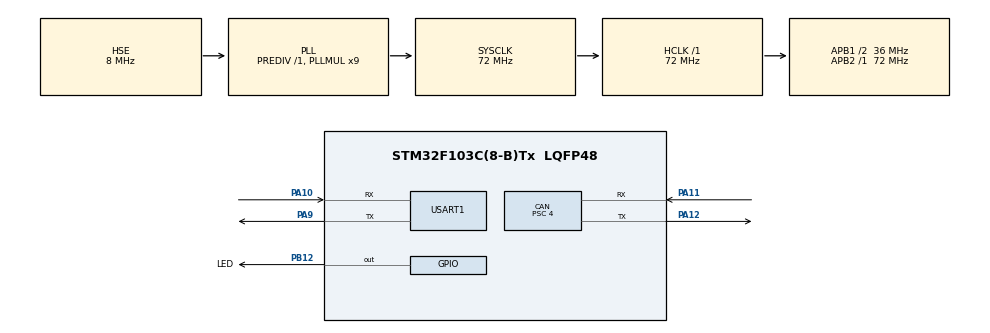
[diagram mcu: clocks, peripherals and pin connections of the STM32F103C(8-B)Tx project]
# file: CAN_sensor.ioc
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CAN.BS1=CAN_BS1_14TQ
CAN.BS2=CAN_BS2_3TQ
CAN.CalculateBaudRate=500000
CAN.CalculateTimeBit=2000
CAN.CalculateTimeQuantum=111.11111111111111
CAN.Mode=CAN_MODE_NORMAL
CAN.NART=ENABLE
CAN.Prescaler=4
CAN.SJW=CAN_SJW_2TQ
Mcu.Family=STM32F1
Mcu.Name=STM32F103C(8-B)Tx
Mcu.Package=LQFP48
NVIC.CAN1_RX1_IRQn=true\:0\:0\:false\:false\:true\:true\:true\:true
NVIC.PriorityGroup=NVIC_PRIORITYGROUP_4
PA10.Mode=Asynchronous
PA10.Signal=USART1_RX
PA11.Mode=CAN_Activate
PA11.Signal=CAN_RX
PA12.Mode=CAN_Activate
PA12.Signal=CAN_TX
PA13.Mode=Serial_Wire
PA13.Signal=SYS_JTMS-SWDIO
PA14.Mode=Serial_Wire
PA14.Signal=SYS_JTCK-SWCLK
PA9.Mode=Asynchronous
PA9.Signal=USART1_TX
PB12.GPIO_Label=LED
PB12.GPIO_Speed=GPIO_SPEED_FREQ_HIGH
PB12.PinState=GPIO_PIN_RESET
PB12.Signal=GPIO_Output
PD0-OSC_IN.Mode=HSE-External-Oscillator
PD0-OSC_IN.Signal=RCC_OSC_IN
PD1-OSC_OUT.Mode=HSE-External-Oscillator
PD1-OSC_OUT.Signal=RCC_OSC_OUT
ProjectManager.HeapSize=0x200
ProjectManager.StackSize=0x400
ProjectManager.TargetToolchain=STM32CubeIDE
RCC.AHBFreq_Value=72000000
RCC.APB1CLKDivider=RCC_HCLK_DIV2
RCC.APB1Freq_Value=36000000
RCC.APB1TimFreq_Value=72000000
RCC.APB2Freq_Value=72000000
RCC.APB2TimFreq_Value=72000000
RCC.HCLKFreq_Value=72000000
RCC.PLLMUL=RCC_PLL_MUL9
RCC.PLLSourceVirtual=RCC_PLLSOURCE_HSE
RCC.SYSCLKFreq_VALUE=72000000
RCC.SYSCLKSource=RCC_SYSCLKSOURCE_PLLCLK
RCC.USBFreq_Value=72000000
USART1.VirtualMode=VM_ASYNC
board=custom

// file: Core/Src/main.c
/* USER CODE BEGIN Header */
/**
  ******************************************************************************
  * @file           : main.c
  * @brief          : Main program body
  ******************************************************************************
  * @attention
  *
  * <h2><center>&copy; Copyright (c) 2021 STMicroelectronics.
  * All rights reserved.</center></h2>
  *
  * This software component is licensed by ST under BSD 3-Clause license,
  * the "License"; You may not use this file except in compliance with the
  * License. You may obtain a copy of the License at:
  *                        opensource.org/licenses/BSD-3-Clause
  *
  ******************************************************************************
  */
/* USER CODE END Header */
#include "main.h"

/* USER CODE BEGIN Includes */
#include "stdint.h"
#include "string.h"
#include "stdio.h"
/* USER CODE END Includes */

CAN_HandleTypeDef hcan;

UART_HandleTypeDef huart1;

/* USER CODE BEGIN PV */
CAN_TxHeaderTypeDef TxHeader;
CAN_RxHeaderTypeDef RxHeader;

uint32_t TxMailbox;

uint8_t TxData[8] = "Hi CE437";
uint8_t RxData[8];

uint8_t Tx_Buffer[55];
uint8_t flag_RcvBack = 0;

/* USER CODE END PV */

void SystemClock_Config(void);
static void MX_GPIO_Init(void);
static void MX_CAN_Init(void);
static void MX_USART1_UART_Init(void);

/* USER CODE BEGIN 0 */

void HAL_CAN_RxFifo1MsgPendingCallback(CAN_HandleTypeDef *hcan)
{
	if(HAL_CAN_GetRxMessage(hcan, CAN_RX_FIFO1, &RxHeader, RxData) != HAL_OK)
	{
		Error_Handler();
	}
	else
	{
		flag_RcvBack = 1;
	}
}
/* USER CODE END 0 */

int main(void)
{

  /* MCU Configuration--------------------------------------------------------*/

  /* Reset of all peripherals, Initializes the Flash interface and the Systick. */
  HAL_Init();

  /* Configure the system clock */
  SystemClock_Config();

  /* Initialize all configured peripherals */
  MX_GPIO_Init();
  MX_CAN_Init();
  MX_USART1_UART_Init();
  /* USER CODE BEGIN 2 */
  HAL_CAN_Init(&hcan);

  //Send notify signal to recieve message from actuator node
  HAL_CAN_ActivateNotification(&hcan, CAN_IT_RX_FIFO1_MSG_PENDING);

  CAN_FilterTypeDef canfilterconfig;

  canfilterconfig.FilterActivation = CAN_FILTER_ENABLE;
  canfilterconfig.FilterBank = 1;  // anything between 0 to SlaveStartFilterBank
  canfilterconfig.FilterFIFOAssignment = CAN_RX_FIFO1;
  canfilterconfig.FilterIdHigh = 0x2AA << 5;
  canfilterconfig.FilterIdLow = 0x0000;
  canfilterconfig.FilterMaskIdHigh = 0x2AA << 5;
  canfilterconfig.FilterMaskIdLow = 0x0000;
  canfilterconfig.FilterMode = CAN_FILTERMODE_IDMASK;
  canfilterconfig.FilterScale = CAN_FILTERSCALE_32BIT;
  //canfilterconfig.SlaveStartFilterBank = 14;

  HAL_CAN_ConfigFilter(&hcan, &canfilterconfig);

  HAL_CAN_Start(&hcan);

  //Config CAN Tx header
  TxHeader.DLC = 8;
  TxHeader.ExtId = 0;
  TxHeader.IDE = CAN_ID_STD;
  TxHeader.RTR = CAN_RTR_DATA;
  TxHeader.StdId = 0x555;
  TxHeader.TransmitGlobalTime = DISABLE;

  /* USER CODE END 2 */

  /* Infinite loop */
  /* USER CODE BEGIN WHILE */
  while (1)
  {

	  HAL_Delay(1000);

	  if(flag_RcvBack == 1) //recieve case
	  {
		  	//print oled debugger
		  	memset(Tx_Buffer,0,sizeof(Tx_Buffer)); //clear buffer before write
		  	sprintf((char*)Tx_Buffer,"\nSENSOR NODE\nTxID:%lu\nTx:%s\nRxID:%lu\nRx:%s",TxHeader.StdId,TxData,RxHeader.StdId,RxData);
		  	HAL_UART_Transmit(&huart1,Tx_Buffer,sizeof(Tx_Buffer), 10);

		  	//turn on led
		  	HAL_GPIO_WritePin(GPIOB, GPIO_PIN_12, flag_RcvBack);

		  	flag_RcvBack = 0; //reset flag

	  } else if(flag_RcvBack == 0) //transmit case
	  {
		  if (HAL_CAN_AddTxMessage(&hcan, &TxHeader, TxData, &TxMailbox) != HAL_OK)
		  {
			  Error_Handler();
		  } else //Transmit oke
		  {
			  //truyen duoc thi den tat
			  //turn off led
			  HAL_GPIO_WritePin(GPIOB, GPIO_PIN_12, flag_RcvBack);
		  }
	  }

    /* USER CODE END WHILE */

  }
}

void SystemClock_Config(void)
{
  RCC_OscInitTypeDef RCC_OscInitStruct = {0};
  RCC_ClkInitTypeDef RCC_ClkInitStruct = {0};

  /** Initializes the RCC Oscillators according to the specified parameters
  * in the RCC_OscInitTypeDef structure.
  */
  RCC_OscInitStruct.OscillatorType = RCC_OSCILLATORTYPE_HSE;
  RCC_OscInitStruct.HSEState = RCC_HSE_ON;
  RCC_OscInitStruct.HSEPredivValue = RCC_HSE_PREDIV_DIV1;
  RCC_OscInitStruct.HSIState = RCC_HSI_ON;
  RCC_OscInitStruct.PLL.PLLState = RCC_PLL_ON;
  RCC_OscInitStruct.PLL.PLLSource = RCC_PLLSOURCE_HSE;
  RCC_OscInitStruct.PLL.PLLMUL = RCC_PLL_MUL9;
  if (HAL_RCC_OscConfig(&RCC_OscInitStruct) != HAL_OK)
  {
    Error_Handler();
  }

  /** Initializes the CPU, AHB and APB buses clocks
  */
  RCC_ClkInitStruct.ClockType = RCC_CLOCKTYPE_HCLK|RCC_CLOCKTYPE_SYSCLK
                              |RCC_CLOCKTYPE_PCLK1|RCC_CLOCKTYPE_PCLK2;
  RCC_ClkInitStruct.SYSCLKSource = RCC_SYSCLKSOURCE_PLLCLK;
  RCC_ClkInitStruct.AHBCLKDivider = RCC_SYSCLK_DIV1;
  RCC_ClkInitStruct.APB1CLKDivider = RCC_HCLK_DIV2;
  RCC_ClkInitStruct.APB2CLKDivider = RCC_HCLK_DIV1;

  if (HAL_RCC_ClockConfig(&RCC_ClkInitStruct, FLASH_LATENCY_2) != HAL_OK)
  {
    Error_Handler();
  }
}

static void MX_CAN_Init(void)
{

  hcan.Instance = CAN1;
  hcan.Init.Prescaler = 4;
  hcan.Init.Mode = CAN_MODE_NORMAL;
  hcan.Init.SyncJumpWidth = CAN_SJW_2TQ;
  hcan.Init.TimeSeg1 = CAN_BS1_14TQ;
  hcan.Init.TimeSeg2 = CAN_BS2_3TQ;
  hcan.Init.TimeTriggeredMode = DISABLE;
  hcan.Init.AutoBusOff = DISABLE;
  hcan.Init.AutoWakeUp = DISABLE;
  hcan.Init.AutoRetransmission = ENABLE;
  hcan.Init.ReceiveFifoLocked = DISABLE;
  hcan.Init.TransmitFifoPriority = DISABLE;
  if (HAL_CAN_Init(&hcan) != HAL_OK)
  {
    Error_Handler();
  }

}

static void MX_USART1_UART_Init(void)
{

  huart1.Instance = USART1;
  huart1.Init.BaudRate = 115200;
  huart1.Init.WordLength = UART_WORDLENGTH_8B;
  huart1.Init.StopBits = UART_STOPBITS_1;
  huart1.Init.Parity = UART_PARITY_NONE;
  huart1.Init.Mode = UART_MODE_TX_RX;
  huart1.Init.HwFlowCtl = UART_HWCONTROL_NONE;
  huart1.Init.OverSampling = UART_OVERSAMPLING_16;
  if (HAL_UART_Init(&huart1) != HAL_OK)
  {
    Error_Handler();
  }

}

static void MX_GPIO_Init(void)
{
  GPIO_InitTypeDef GPIO_InitStruct = {0};

  /* GPIO Ports Clock Enable */
  __HAL_RCC_GPIOD_CLK_ENABLE();
  __HAL_RCC_GPIOB_CLK_ENABLE();
  __HAL_RCC_GPIOA_CLK_ENABLE();

  /*Configure GPIO pin Output Level */
  HAL_GPIO_WritePin(LED_GPIO_Port, LED_Pin, GPIO_PIN_RESET);

  /*Configure GPIO pin : LED_Pin */
  GPIO_InitStruct.Pin = LED_Pin;
  GPIO_InitStruct.Mode = GPIO_MODE_OUTPUT_PP;
  GPIO_InitStruct.Pull = GPIO_NOPULL;
  GPIO_InitStruct.Speed = GPIO_SPEED_FREQ_HIGH;
  HAL_GPIO_Init(LED_GPIO_Port, &GPIO_InitStruct);

}

void Error_Handler(void)
{
  /* USER CODE BEGIN Error_Handler_Debug */
  /* User can add his own implementation to report the HAL error return state */
  __disable_irq();
  while (1)
  {
	  memset(Tx_Buffer,0,sizeof(Tx_Buffer)); //clear buffer before write
	  sprintf((char*)Tx_Buffer,"CAN sensor node ERROR\n");
	  HAL_UART_Transmit(&huart1,Tx_Buffer,sizeof(Tx_Buffer), 10);
	  HAL_Delay(500);
  }
  /* USER CODE END Error_Handler_Debug */
}
